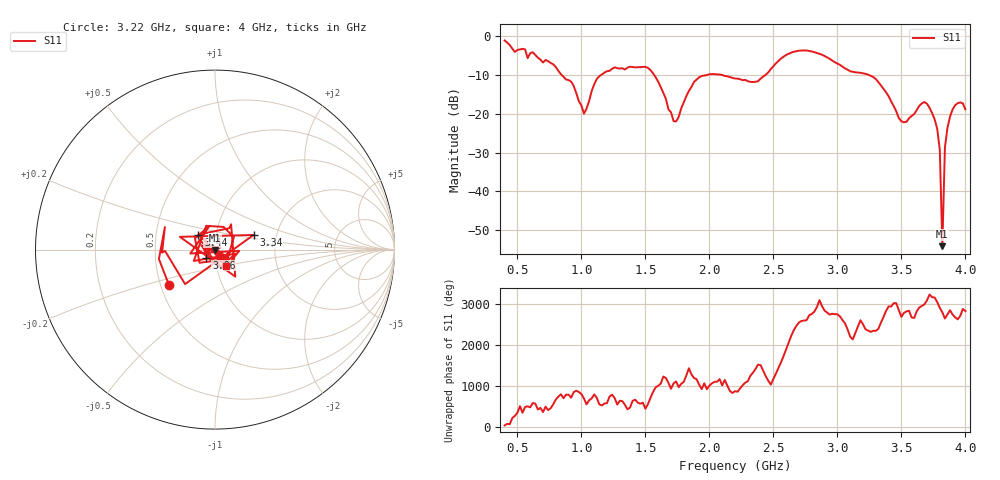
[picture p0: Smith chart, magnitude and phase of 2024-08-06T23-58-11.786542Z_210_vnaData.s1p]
!Created with skrf (http://scikit-rf.org).
# Hz S RI R 50.0
!freq ReS11 ImS11
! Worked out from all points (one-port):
!   181 points, 400 MHz to 4 GHz, reference 50 ohm
!   lowest |S11| = -54.1 dB at 3.82 GHz (marker M1), VSWR 1.00, Z = 50 - j0.198 ohm
!   |S11| at or under -10 dB: 1.567 GHz to 1.989 GHz (422 MHz wide, 23.7 % of centre); 2.088 GHz to 2.441 GHz (352.9 MHz wide, 15.6 % of centre); 3.241 GHz to end of sweep (the widest 3 of 4)
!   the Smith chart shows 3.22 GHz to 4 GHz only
!   S11 on the Smith chart (normalised r, x): 3.22 GHz: 0.55, -0.25; 3.34 GHz: 1.52, +0.26; 3.44 GHz: 0.82, +0.14; 3.86 GHz: 0.90, -0.08; 4 GHz: 1.12, -0.21
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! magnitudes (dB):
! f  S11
! 400 MHz  -1.2
! 860 MHz  -10.5
! 940 MHz  -12.9
! 1.02 GHz  -20.0
! 1.12 GHz  -11.1
! 1.3 GHz  -8.4
! 1.52 GHz  -8.3
! 1.6 GHz  -11.8
! 1.72 GHz  -21.9
! 1.76 GHz  -20.9
! 1.92 GHz  -10.7
! 2.2 GHz  -11.0
! 2.38 GHz  -11.7
! 2.66 GHz  -4.1
! 3.1 GHz  -9.1
! 3.22 GHz  -9.8
! 3.34 GHz  -12.8
! 3.44 GHz  -18.1
! 3.5 GHz  -22.0
! 3.56 GHz  -21.2
! 3.68 GHz  -17.0
! 3.78 GHz  -23.9
! 3.8 GHz  -29.3
! 3.82 GHz  -54.1
! 3.84 GHz  -28.7
! 3.86 GHz  -23.6
! 3.92 GHz  -17.8
! 4 GHz  -18.9
